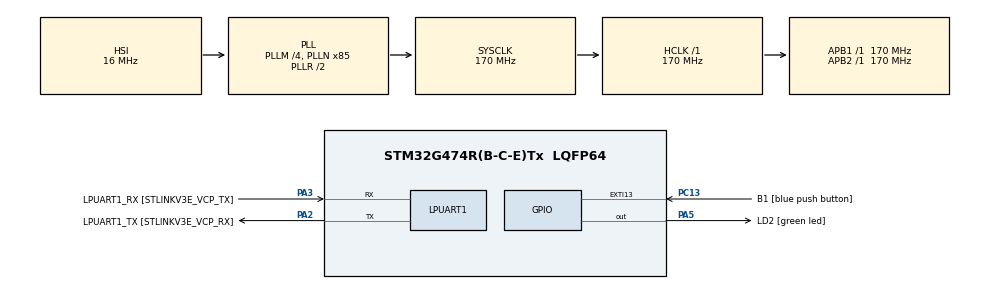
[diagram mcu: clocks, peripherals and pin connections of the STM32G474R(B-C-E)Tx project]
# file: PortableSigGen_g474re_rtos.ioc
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FREERTOS.Tasks01=defaultTask,24,128,StartDefaultTask,Default,NULL,Static,defaultTaskBuffer,defaultTaskControlBlock
LPUART1.FIFOMode=UART_FIFOMODE_DISABLE
Mcu.Family=STM32G4
Mcu.Name=STM32G474R(B-C-E)Tx
Mcu.Package=LQFP64
NVIC.EXTI15_10_IRQn=true\:5\:0\:false\:false\:true\:true\:true\:true\:true
NVIC.PriorityGroup=NVIC_PRIORITYGROUP_4
NVIC.TIM1_TRG_COM_TIM17_IRQn=true\:15\:0\:false\:false\:true\:false\:false\:true\:true
NVIC.TimeBase=TIM1_TRG_COM_TIM17_IRQn
NVIC.TimeBaseIP=TIM17
PA13.GPIO_Label=T_SWDIO
PA13.Mode=Serial_Wire
PA13.Signal=SYS_JTMS-SWDIO
PA14.GPIO_Label=T_SWCLK
PA14.Mode=Serial_Wire
PA14.Signal=SYS_JTCK-SWCLK
PA2.GPIO_Label=LPUART1_TX [STLINKV3E_VCP_RX]
PA2.Mode=Asynchronous
PA2.Signal=LPUART1_TX
PA3.GPIO_Label=LPUART1_RX [STLINKV3E_VCP_TX]
PA3.Mode=Asynchronous
PA3.Signal=LPUART1_RX
PA5.GPIO_Label=LD2 [green led]
PA5.Signal=GPIO_Output
PB3.GPIO_Label=T_SWO
PB3.Signal=SYS_JTDO-SWO
PC13.GPIO_Label=B1 [blue push button]
PC13.Signal=GPXTI13
PC14-OSC32_IN.GPIO_Label=RCC_OSC32_IN
PC14-OSC32_IN.Mode=LSE-External-Oscillator
PC14-OSC32_IN.Signal=RCC_OSC32_IN
PC15-OSC32_OUT.GPIO_Label=RCC_OSC32_OUT
PC15-OSC32_OUT.Mode=LSE-External-Oscillator
PC15-OSC32_OUT.Signal=RCC_OSC32_OUT
PF0-OSC_IN.GPIO_Label=RCC_OSC_IN
PF0-OSC_IN.Mode=HSE-External-Oscillator
PF0-OSC_IN.Signal=RCC_OSC_IN
PF1-OSC_OUT.GPIO_Label=RCC_OSC_OUT
PF1-OSC_OUT.Mode=HSE-External-Oscillator
PF1-OSC_OUT.Signal=RCC_OSC_OUT
ProjectManager.HeapSize=0x200
ProjectManager.StackSize=0x400
ProjectManager.TargetToolchain=CMake
RCC.ADC12Freq_Value=170000000
RCC.ADC345Freq_Value=170000000
RCC.AHBFreq_Value=170000000
RCC.APB1Freq_Value=170000000
RCC.APB1TimFreq_Value=170000000
RCC.APB2Freq_Value=170000000
RCC.APB2TimFreq_Value=170000000
RCC.CortexFreq_Value=170000000
RCC.EXTERNAL_CLOCK_VALUE=12288000
RCC.HCLKFreq_Value=170000000
RCC.HSE_VALUE=24000000
RCC.HSI48_VALUE=48000000
RCC.HSI_VALUE=16000000
RCC.PLLM=RCC_PLLM_DIV4
RCC.PLLN=85
RCC.RTCClockSelection=RCC_RTCCLKSOURCE_LSE
RCC.SYSCLKFreq_VALUE=170000000
RCC.SYSCLKSource=RCC_SYSCLKSOURCE_PLLCLK
RCC.USBFreq_Value=170000000
RCC.VCOOutputFreq_Value=340000000
VP_FREERTOS_VS_CMSIS_V2.Mode=CMSIS_V2
VP_SYS_VS_DBSignals.Mode=DisableDeadBatterySignals
VP_SYS_VS_tim17.Mode=TIM17
board=NUCLEO-G474RE

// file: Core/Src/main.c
/* USER CODE BEGIN Header */
/**
 ******************************************************************************
 * @file           : main.c
 * @brief          : Main program body
 ******************************************************************************
 * @attention
 *
 * Copyright (c) 2024 STMicroelectronics.
 * All rights reserved.
 *
 * This software is licensed under terms that can be found in the LICENSE file
 * in the root directory of this software component.
 * If no LICENSE file comes with this software, it is provided AS-IS.
 *
 ******************************************************************************
 */
/* USER CODE END Header */
#include "main.h"
// #include "cmsis_os.h"
#include "usart.h"
#include "gpio.h"
#include "FreeRTOS.h"
#include "task.h"
/* USER CODE BEGIN Includes */
#include "SEGGER_SYSVIEW.h"
#include "SEGGER_RTT.h"
#include "printf.h"
/* USER CODE END Includes */

void SystemClock_Config(void);
void MX_FREERTOS_Init(void);
/* USER CODE BEGIN PFP */
void RTT_console_logger(ulog_level_t severity, char *msg);
void UART_console_logger(ulog_level_t severity, char *msg);
/* USER CODE END PFP */

int main(void)
{

	/* MCU Configuration--------------------------------------------------------*/

	/* Reset of all peripherals, Initializes the Flash interface and the Systick. */
	HAL_Init();

	/* Configure the system clock */
	SystemClock_Config();

	/* Initialize all configured peripherals */
	MX_GPIO_Init();
	MX_LPUART1_UART_Init();
	/* USER CODE BEGIN 2 */

	SEGGER_SYSVIEW_Conf();
	ulog_init();
	ulog_subscribe(RTT_console_logger, ULOG_DEBUG_LEVEL);
	ulog_subscribe(UART_console_logger, ULOG_WARNING_LEVEL);
	/* USER CODE END 2 */

	/* Init scheduler */
	// osKernelInitialize();

	/* Call init function for freertos objects (in cmsis_os2.c) */
	MX_FREERTOS_Init();

	/* Start scheduler */
	// osKernelStart();
	vTaskStartScheduler();
	/* We should never get here as control is now taken by the scheduler */

	/* Infinite loop */
	while (1)
	{

	}
}

void SystemClock_Config(void)
{
	RCC_OscInitTypeDef RCC_OscInitStruct = {0};
	RCC_ClkInitTypeDef RCC_ClkInitStruct = {0};

	/** Configure the main internal regulator output voltage
	 */
	HAL_PWREx_ControlVoltageScaling(PWR_REGULATOR_VOLTAGE_SCALE1_BOOST);

	/** Initializes the RCC Oscillators according to the specified parameters
	 * in the RCC_OscInitTypeDef structure.
	 */
	RCC_OscInitStruct.OscillatorType = RCC_OSCILLATORTYPE_HSI;
	RCC_OscInitStruct.HSIState = RCC_HSI_ON;
	RCC_OscInitStruct.HSICalibrationValue = RCC_HSICALIBRATION_DEFAULT;
	RCC_OscInitStruct.PLL.PLLState = RCC_PLL_ON;
	RCC_OscInitStruct.PLL.PLLSource = RCC_PLLSOURCE_HSI;
	RCC_OscInitStruct.PLL.PLLM = RCC_PLLM_DIV4;
	RCC_OscInitStruct.PLL.PLLN = 85;
	RCC_OscInitStruct.PLL.PLLP = RCC_PLLP_DIV2;
	RCC_OscInitStruct.PLL.PLLQ = RCC_PLLQ_DIV2;
	RCC_OscInitStruct.PLL.PLLR = RCC_PLLR_DIV2;
	if (HAL_RCC_OscConfig(&RCC_OscInitStruct) != HAL_OK)
	{
		Error_Handler();
	}

	/** Initializes the CPU, AHB and APB buses clocks
	 */
	RCC_ClkInitStruct.ClockType = RCC_CLOCKTYPE_HCLK | RCC_CLOCKTYPE_SYSCLK | RCC_CLOCKTYPE_PCLK1 | RCC_CLOCKTYPE_PCLK2;
	RCC_ClkInitStruct.SYSCLKSource = RCC_SYSCLKSOURCE_PLLCLK;
	RCC_ClkInitStruct.AHBCLKDivider = RCC_SYSCLK_DIV1;
	RCC_ClkInitStruct.APB1CLKDivider = RCC_HCLK_DIV1;
	RCC_ClkInitStruct.APB2CLKDivider = RCC_HCLK_DIV1;

	if (HAL_RCC_ClockConfig(&RCC_ClkInitStruct, FLASH_LATENCY_4) != HAL_OK)
	{
		Error_Handler();
	}
}

/* USER CODE BEGIN 4 */
void RTT_console_logger(ulog_level_t severity, char *msg)
{
	SEGGER_RTT_printf(0, "[%s]: %s\n", ulog_level_name(severity), msg);
	// SEGGER_SYSVIEW_PrintfTarget("[%s]: %s\n", ulog_level_name(severity), msg);
}
void UART_console_logger(ulog_level_t severity, char *msg)
{
	uint8_t _msg[32] = {0};
	uint8_t _msg_lenght = snprintf((char *)_msg, 32, "[%s]: %s\n", ulog_level_name(severity), msg);
	HAL_UART_Transmit(&hlpuart1, _msg, _msg_lenght, 1000);
}
/* USER CODE END 4 */

void HAL_TIM_PeriodElapsedCallback(TIM_HandleTypeDef *htim)
{
	if (htim->Instance == TIM17)
	{
		HAL_IncTick();
	}
}

void Error_Handler(void)
{
	__disable_irq();
	while (1)
	{
	}
}

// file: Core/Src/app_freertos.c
/* USER CODE BEGIN Header */
/**
 ******************************************************************************
 * File Name          : app_freertos.c
 * Description        : Code for freertos applications
 ******************************************************************************
 * @attention
 *
 * Copyright (c) 2024 STMicroelectronics.
 * All rights reserved.
 *
 * This software is licensed under terms that can be found in the LICENSE file
 * in the root directory of this software component.
 * If no LICENSE file comes with this software, it is provided AS-IS.
 *
 ******************************************************************************
 */
/* USER CODE END Header */

#include "FreeRTOS.h"
#include "task.h"
#include "main.h"
// #include "cmsis_os.h"

// typedef StaticTask_t osStaticThreadDef_t;

/* Definitions for defaultTask */
static StaticTask_t exampleTaskTCB;
static StackType_t exampleTaskStack[configMINIMAL_STACK_SIZE];
// osThreadId_t defaultTaskHandle;
// uint32_t defaultTaskBuffer[128];
// osStaticThreadDef_t defaultTaskControlBlock;
// const osThreadAttr_t defaultTask_attributes = {
// 	.name = "defaultTask",
// 	.stack_mem = &defaultTaskBuffer[0],
// 	.stack_size = sizeof(defaultTaskBuffer),
// 	.cb_mem = &defaultTaskControlBlock,
// 	.cb_size = sizeof(defaultTaskControlBlock),
// 	.priority = (osPriority_t)osPriorityNormal,
// };

static void exampleTask(void *parameters);

void MX_FREERTOS_Init(void); /* (MISRA C 2004 rule 8.1) */

void MX_FREERTOS_Init(void)
{

	/* Create the thread(s) */
	/* creation of defaultTask */
	// defaultTaskHandle = osThreadNew(StartDefaultTask, NULL, &defaultTask_attributes);
	(void)xTaskCreateStatic(exampleTask,
							"example",
							configMINIMAL_STACK_SIZE,
							NULL,
							configMAX_PRIORITIES - 1U,
							&(exampleTaskStack[0]),
							&(exampleTaskTCB));

}

static void exampleTask(void *parameters)
{
	UNUSED(parameters);
	/* USER CODE BEGIN StartDefaultTask */
	/* Infinite loop */
	for (;;)
	{
		vTaskDelay(200 / portTICK_PERIOD_MS);
		HAL_GPIO_TogglePin(LD2_GPIO_Port, LD2_Pin);
	}
	/* USER CODE END StartDefaultTask */
}
